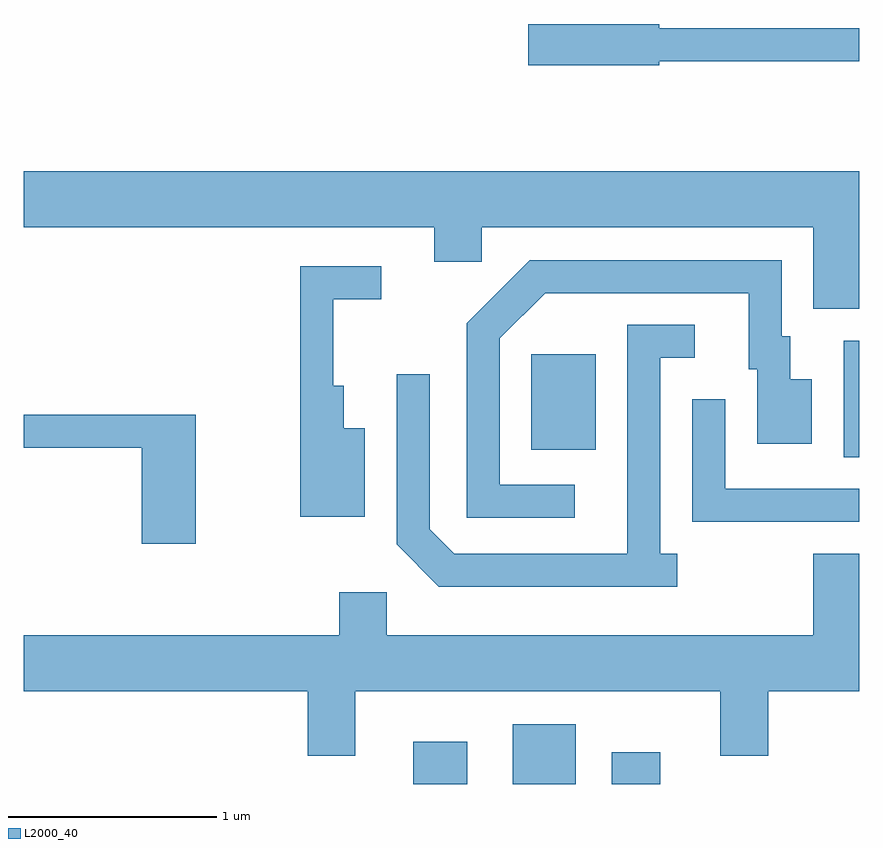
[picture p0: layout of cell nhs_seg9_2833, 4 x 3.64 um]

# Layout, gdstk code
import gdstk
lib = gdstk.Library(unit=1e-6, precision=1e-09)
def R(c, l, rs):  # rectangles x0, y0, x1, y1
    for r in rs: c.add(gdstk.rectangle(r[:2], r[2:], *l))
def P(c, l, *ps):  # polygons
    for p in ps: c.add(gdstk.Polygon(p, *l))
L2000_40 = (2000, 40)

nhs_seg9_2833 = lib.new_cell('nhs_seg9_2833')
R(nhs_seg9_2833, L2000_40, [(269.476,2042.432,269.734,2042.634), (269.951,2042.432,270.254,2042.719), (270.426,2042.432,270.659,2042.584), (271.536,2043.996,271.611,2044.554), (270.041,2044.031,270.349,2044.489)])
P(nhs_seg9_2833, L2000_40, [(270.654,2045.891),(271.611,2045.891),(271.611,2046.049),(270.654,2046.049),(270.654,2046.069),(270.026,2046.069),(270.026,2045.871),(270.654,2045.871)],
  [(271.611,2045.364),(267.611,2045.364),(267.611,2045.096),(269.576,2045.096),(269.576,2044.931),(269.804,2044.931),(269.804,2045.096),(271.391,2045.096),(271.391,2044.706),(271.611,2044.706)],
  [(270.248,2043.864),(269.889,2043.864),(269.889,2044.564),(270.107,2044.781),(271.081,2044.781),(271.081,2044.416),(271.121,2044.416),(271.121,2044.061),(271.384,2044.061),(271.384,2044.369),(271.279,2044.369),(271.279,2044.574),(271.239,2044.574),(271.239,2044.939),(270.034,2044.939),(269.731,2044.637),(269.731,2043.706),(270.248,2043.706)],
  [(269.244,2044.134),(269.144,2044.134),(269.144,2044.339),(269.094,2044.339),(269.094,2044.751),(269.323,2044.751),(269.323,2044.909),(268.936,2044.909),(268.936,2043.711),(269.244,2043.711)],
  [(270.738,2043.534),(270.659,2043.534),(270.659,2044.471),(270.823,2044.471),(270.823,2044.629),(270.501,2044.629),(270.501,2043.534),(269.672,2043.534),(269.554,2043.652),(269.554,2044.393),(269.396,2044.393),(269.396,2043.579),(269.599,2043.376),(270.738,2043.376)],
  [(271.611,2043.844),(270.969,2043.844),(270.969,2044.273),(270.811,2044.273),(270.811,2043.686),(271.611,2043.686)],
  [(268.434,2044.199),(267.611,2044.199),(267.611,2044.041),(268.176,2044.041),(268.176,2043.581),(268.434,2043.581)],
  [(269.199,2042.876),(270.946,2042.876),(270.946,2042.566),(271.174,2042.566),(271.174,2042.876),(271.611,2042.876),(271.611,2043.534),(271.391,2043.534),(271.391,2043.144),(269.349,2043.144),(269.349,2043.349),(269.121,2043.349),(269.121,2043.144),(267.611,2043.144),(267.611,2042.876),(268.971,2042.876),(268.971,2042.566),(269.199,2042.566)])

lib.write_gds('nhs_seg9_2833.gds')
